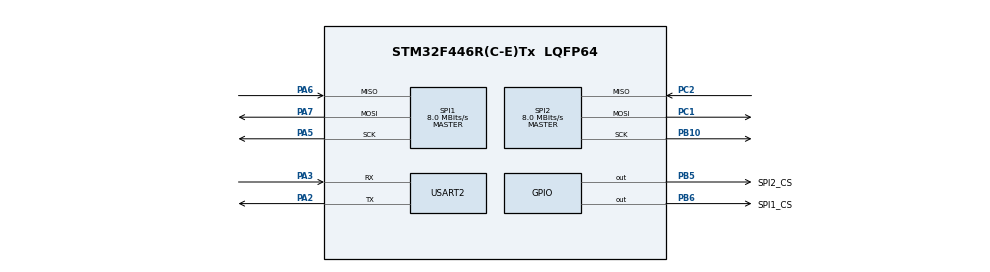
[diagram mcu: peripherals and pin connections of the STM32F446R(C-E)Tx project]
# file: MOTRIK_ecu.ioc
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Mcu.Family=STM32F4
Mcu.Name=STM32F446R(C-E)Tx
Mcu.Package=LQFP64
NVIC.PriorityGroup=NVIC_PRIORITYGROUP_4
PA2.Mode=Asynchronous
PA2.Signal=USART2_TX
PA3.Mode=Asynchronous
PA3.Signal=USART2_RX
PA5.Mode=Full_Duplex_Master
PA5.Signal=SPI1_SCK
PA6.Mode=Full_Duplex_Master
PA6.Signal=SPI1_MISO
PA7.Mode=Full_Duplex_Master
PA7.Signal=SPI1_MOSI
PB10.Mode=Full_Duplex_Master
PB10.Signal=SPI2_SCK
PB5.GPIO_Label=SPI2_CS
PB5.Signal=GPIO_Output
PB6.GPIO_Label=SPI1_CS
PB6.Signal=GPIO_Output
PC1.Mode=Full_Duplex_Master
PC1.Signal=SPI2_MOSI
PC2.Mode=Full_Duplex_Master
PC2.Signal=SPI2_MISO
ProjectManager.HeapSize=0x200
ProjectManager.StackSize=0x400
ProjectManager.TargetToolchain=STM32CubeIDE
RCC.CortexFreq_Value=16000000
RCC.USBFreq_Value=96000000
RCC.VCOOutputFreq_Value=192000000
SPI1.CalculateBaudRate=8.0 MBits/s
SPI1.DataSize=SPI_DATASIZE_16BIT
SPI1.Direction=SPI_DIRECTION_2LINES
SPI1.Mode=SPI_MODE_MASTER
SPI1.VirtualType=VM_MASTER
SPI2.BaudRatePrescaler=SPI_BAUDRATEPRESCALER_2
SPI2.CalculateBaudRate=8.0 MBits/s
SPI2.DataSize=SPI_DATASIZE_16BIT
SPI2.Direction=SPI_DIRECTION_2LINES
SPI2.Mode=SPI_MODE_MASTER
SPI2.VirtualType=VM_MASTER
USART2.VirtualMode=VM_ASYNC
board=custom

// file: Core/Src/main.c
/* USER CODE BEGIN Header */
/**
 ******************************************************************************
 * @file           : main.c
 * @brief          : Main program body
 ******************************************************************************
 * @attention
 *
 * Copyright (c) 2022 STMicroelectronics.
 * All rights reserved.
 *
 * This software is licensed under terms that can be found in the LICENSE file
 * in the root directory of this software component.
 * If no LICENSE file comes with this software, it is provided AS-IS.
 *
 ******************************************************************************
 */
/* USER CODE END Header */
#include "main.h"

/* USER CODE BEGIN Includes */
#include <stdio.h>
#include "A4963_def.h"
/* USER CODE END Includes */

SPI_HandleTypeDef hspi1;
SPI_HandleTypeDef hspi2;

UART_HandleTypeDef huart2;

/* USER CODE BEGIN PV */
char usart_buf[50];
int usart_buf_len;
uint8_t spi_buf[20];
/* USER CODE END PV */

void SystemClock_Config(void);
static void MX_GPIO_Init(void);
static void MX_SPI1_Init(void);
static void MX_USART2_UART_Init(void);
static void MX_SPI2_Init(void);
/* USER CODE BEGIN PFP */
void spiWriteTest(uint16_t mosiTrame, uint8_t *spiSelect);
void spiReadTest(uint16_t mosiTrame, uint8_t *spiSelect);
/* USER CODE END PFP */

int main(void) {

	/* MCU Configuration--------------------------------------------------------*/

	/* Reset of all peripherals, Initializes the Flash interface and the Systick. */
	HAL_Init();

	/* Configure the system clock */
	SystemClock_Config();

	/* Initialize all configured peripherals */
	MX_GPIO_Init();
	MX_SPI1_Init();
	MX_USART2_UART_Init();
	MX_SPI2_Init();
	/* USER CODE BEGIN 2 */

	// CS pin niveau HAUT.
	HAL_GPIO_WritePin(GPIOB, GPIO_PIN_6, GPIO_PIN_SET); // Chip Select à 0.

	/* USER CODE END 2 */

	/* Infinite loop */
	/* USER CODE BEGIN WHILE */
	while (1) {
		// Affichage de la trame envoyée.
		//Retour haut du terminal.
		usart_buf_len = sprintf(usart_buf, "%c%c%c%c%c", 0x1B, 0x5B, 0x3B, 0x30,
				0x48);
		HAL_UART_Transmit(&huart2, (uint8_t*) usart_buf, usart_buf_len, 100);

		/* USER CODE END WHILE */

		/* USER CODE BEGIN 3 */
		// spiWriteTest(0b1111000000000011, &hspi1);
		// HAL_Delay(1000);
		spiReadTest(0b1110000000000000, &hspi1);
	}
	/* USER CODE END 3 */
}

void SystemClock_Config(void) {
	RCC_OscInitTypeDef RCC_OscInitStruct = { 0 };
	RCC_ClkInitTypeDef RCC_ClkInitStruct = { 0 };

	/** Configure the main internal regulator output voltage
	 */
	__HAL_RCC_PWR_CLK_ENABLE();
	__HAL_PWR_VOLTAGESCALING_CONFIG(PWR_REGULATOR_VOLTAGE_SCALE3);

	/** Initializes the RCC Oscillators according to the specified parameters
	 * in the RCC_OscInitTypeDef structure.
	 */
	RCC_OscInitStruct.OscillatorType = RCC_OSCILLATORTYPE_HSI;
	RCC_OscInitStruct.HSIState = RCC_HSI_ON;
	RCC_OscInitStruct.HSICalibrationValue = RCC_HSICALIBRATION_DEFAULT;
	RCC_OscInitStruct.PLL.PLLState = RCC_PLL_NONE;
	if (HAL_RCC_OscConfig(&RCC_OscInitStruct) != HAL_OK) {
		Error_Handler();
	}

	/** Initializes the CPU, AHB and APB buses clocks
	 */
	RCC_ClkInitStruct.ClockType = RCC_CLOCKTYPE_HCLK | RCC_CLOCKTYPE_SYSCLK
			| RCC_CLOCKTYPE_PCLK1 | RCC_CLOCKTYPE_PCLK2;
	RCC_ClkInitStruct.SYSCLKSource = RCC_SYSCLKSOURCE_HSI;
	RCC_ClkInitStruct.AHBCLKDivider = RCC_SYSCLK_DIV1;
	RCC_ClkInitStruct.APB1CLKDivider = RCC_HCLK_DIV1;
	RCC_ClkInitStruct.APB2CLKDivider = RCC_HCLK_DIV1;

	if (HAL_RCC_ClockConfig(&RCC_ClkInitStruct, FLASH_LATENCY_0) != HAL_OK) {
		Error_Handler();
	}
}

static void MX_SPI1_Init(void) {

	/* SPI1 parameter configuration*/
	hspi1.Instance = SPI1;
	hspi1.Init.Mode = SPI_MODE_MASTER;
	hspi1.Init.Direction = SPI_DIRECTION_2LINES;
	hspi1.Init.DataSize = SPI_DATASIZE_16BIT;
	hspi1.Init.CLKPolarity = SPI_POLARITY_LOW;
	hspi1.Init.CLKPhase = SPI_PHASE_1EDGE;
	hspi1.Init.NSS = SPI_NSS_SOFT;
	hspi1.Init.BaudRatePrescaler = SPI_BAUDRATEPRESCALER_2;
	hspi1.Init.FirstBit = SPI_FIRSTBIT_MSB;
	hspi1.Init.TIMode = SPI_TIMODE_DISABLE;
	hspi1.Init.CRCCalculation = SPI_CRCCALCULATION_DISABLE;
	hspi1.Init.CRCPolynomial = 10;
	if (HAL_SPI_Init(&hspi1) != HAL_OK) {
		Error_Handler();
	}
}

static void MX_SPI2_Init(void) {

	/* SPI2 parameter configuration*/
	hspi2.Instance = SPI2;
	hspi2.Init.Mode = SPI_MODE_MASTER;
	hspi2.Init.Direction = SPI_DIRECTION_2LINES;
	hspi2.Init.DataSize = SPI_DATASIZE_16BIT;
	hspi2.Init.CLKPolarity = SPI_POLARITY_LOW;
	hspi2.Init.CLKPhase = SPI_PHASE_1EDGE;
	hspi2.Init.NSS = SPI_NSS_SOFT;
	hspi2.Init.BaudRatePrescaler = SPI_BAUDRATEPRESCALER_2;
	hspi2.Init.FirstBit = SPI_FIRSTBIT_MSB;
	hspi2.Init.TIMode = SPI_TIMODE_DISABLE;
	hspi2.Init.CRCCalculation = SPI_CRCCALCULATION_DISABLE;
	hspi2.Init.CRCPolynomial = 10;
	if (HAL_SPI_Init(&hspi2) != HAL_OK) {
		Error_Handler();
	}
}

static void MX_USART2_UART_Init(void) {

	huart2.Instance = USART2;
	huart2.Init.BaudRate = 115200;
	huart2.Init.WordLength = UART_WORDLENGTH_8B;
	huart2.Init.StopBits = UART_STOPBITS_1;
	huart2.Init.Parity = UART_PARITY_NONE;
	huart2.Init.Mode = UART_MODE_TX_RX;
	huart2.Init.HwFlowCtl = UART_HWCONTROL_NONE;
	huart2.Init.OverSampling = UART_OVERSAMPLING_16;
	if (HAL_UART_Init(&huart2) != HAL_OK) {
		Error_Handler();
	}
}

static void MX_GPIO_Init(void) {
	GPIO_InitTypeDef GPIO_InitStruct = { 0 };

	/* GPIO Ports Clock Enable */
	__HAL_RCC_GPIOC_CLK_ENABLE();
	__HAL_RCC_GPIOA_CLK_ENABLE();
	__HAL_RCC_GPIOB_CLK_ENABLE();

	/*Configure GPIO pin Output Level */
	HAL_GPIO_WritePin(GPIOB, SPI2_CS_Pin | SPI1_CS_Pin, GPIO_PIN_RESET);

	/*Configure GPIO pins : SPI2_CS_Pin SPI1_CS_Pin */
	GPIO_InitStruct.Pin = SPI2_CS_Pin | SPI1_CS_Pin;
	GPIO_InitStruct.Mode = GPIO_MODE_OUTPUT_PP;
	GPIO_InitStruct.Pull = GPIO_NOPULL;
	GPIO_InitStruct.Speed = GPIO_SPEED_FREQ_LOW;
	HAL_GPIO_Init(GPIOB, &GPIO_InitStruct);
}

/* USER CODE BEGIN 4 */

void spiWriteTest(uint16_t mosiTrame, uint8_t *spiSelect) {
	// Affichage de la trame envoyée.
	usart_buf_len = sprintf(usart_buf, "WRITE -- 0x%04X ...\n\r",
			(unsigned int) mosiTrame);
	HAL_UART_Transmit(&huart2, (uint8_t*) usart_buf, usart_buf_len, 100);

	////////////////////////////////////////////////////////////////////////

	HAL_GPIO_WritePin(GPIOB, GPIO_PIN_6, GPIO_PIN_RESET); // Chip Select à 0.
	HAL_SPI_Transmit(spiSelect, (uint8_t*) &mosiTrame,
			sizeof(mosiTrame) / sizeof(uint16_t), 100);
	HAL_GPIO_WritePin(GPIOB, GPIO_PIN_6, GPIO_PIN_SET); // Chip Select à 0.
}

void spiReadTest(uint16_t mosiTrame, uint8_t *spiSelect) {
	// Affichage de la trame envoyée.
	usart_buf_len = sprintf(usart_buf, "READ  -- 0x%04X ...\n\r",
			(unsigned int) mosiTrame);
	HAL_UART_Transmit(&huart2, (uint8_t*) usart_buf, usart_buf_len, 100);

	////////////////////////////////////////////////////////////////////////

	HAL_GPIO_WritePin(GPIOB, GPIO_PIN_6, GPIO_PIN_RESET); // Chip Select à 0.
	HAL_SPI_Transmit(spiSelect, (uint8_t*) &mosiTrame,
			sizeof(mosiTrame) / sizeof(uint16_t), 1);
	HAL_GPIO_WritePin(GPIOB, GPIO_PIN_6, GPIO_PIN_SET); // Chip Select à 0.
	HAL_SPI_Receive(spiSelect, &spi_buf, 1, 1);
	HAL_Delay(1000);

	////////////////////////////////////////////////////////////////////////

	// Affichage de la réponse sur USART.
	usart_buf_len = sprintf(usart_buf, "------------------ \n\r");
	HAL_UART_Transmit(&huart2, (uint8_t*) usart_buf, usart_buf_len, 100);

	/*for (uint8_t i = 0; i < 20; ++i)
	 {
	 usart_buf_len = sprintf(usart_buf, "spi_buf #%02d 0x%04X \n\r", i,
	 (unsigned int)spi_buf[i]);
	 HAL_UART_Transmit(&huart2, (uint8_t *)usart_buf, usart_buf_len, 100);
	 }*/
	usart_buf_len = sprintf(usart_buf, "spi_buf #%02d 0x%04X \n\r", 0,
			(unsigned int) spi_buf[0]);
	HAL_UART_Transmit(&huart2, (uint8_t*) usart_buf, usart_buf_len, 100);
	usart_buf_len = sprintf(usart_buf, "------------------ \n\r");
	HAL_UART_Transmit(&huart2, (uint8_t*) usart_buf, usart_buf_len, 100);
}

/* USER CODE END 4 */

void Error_Handler(void) {
	__disable_irq();
	while (1) {
	}
}
